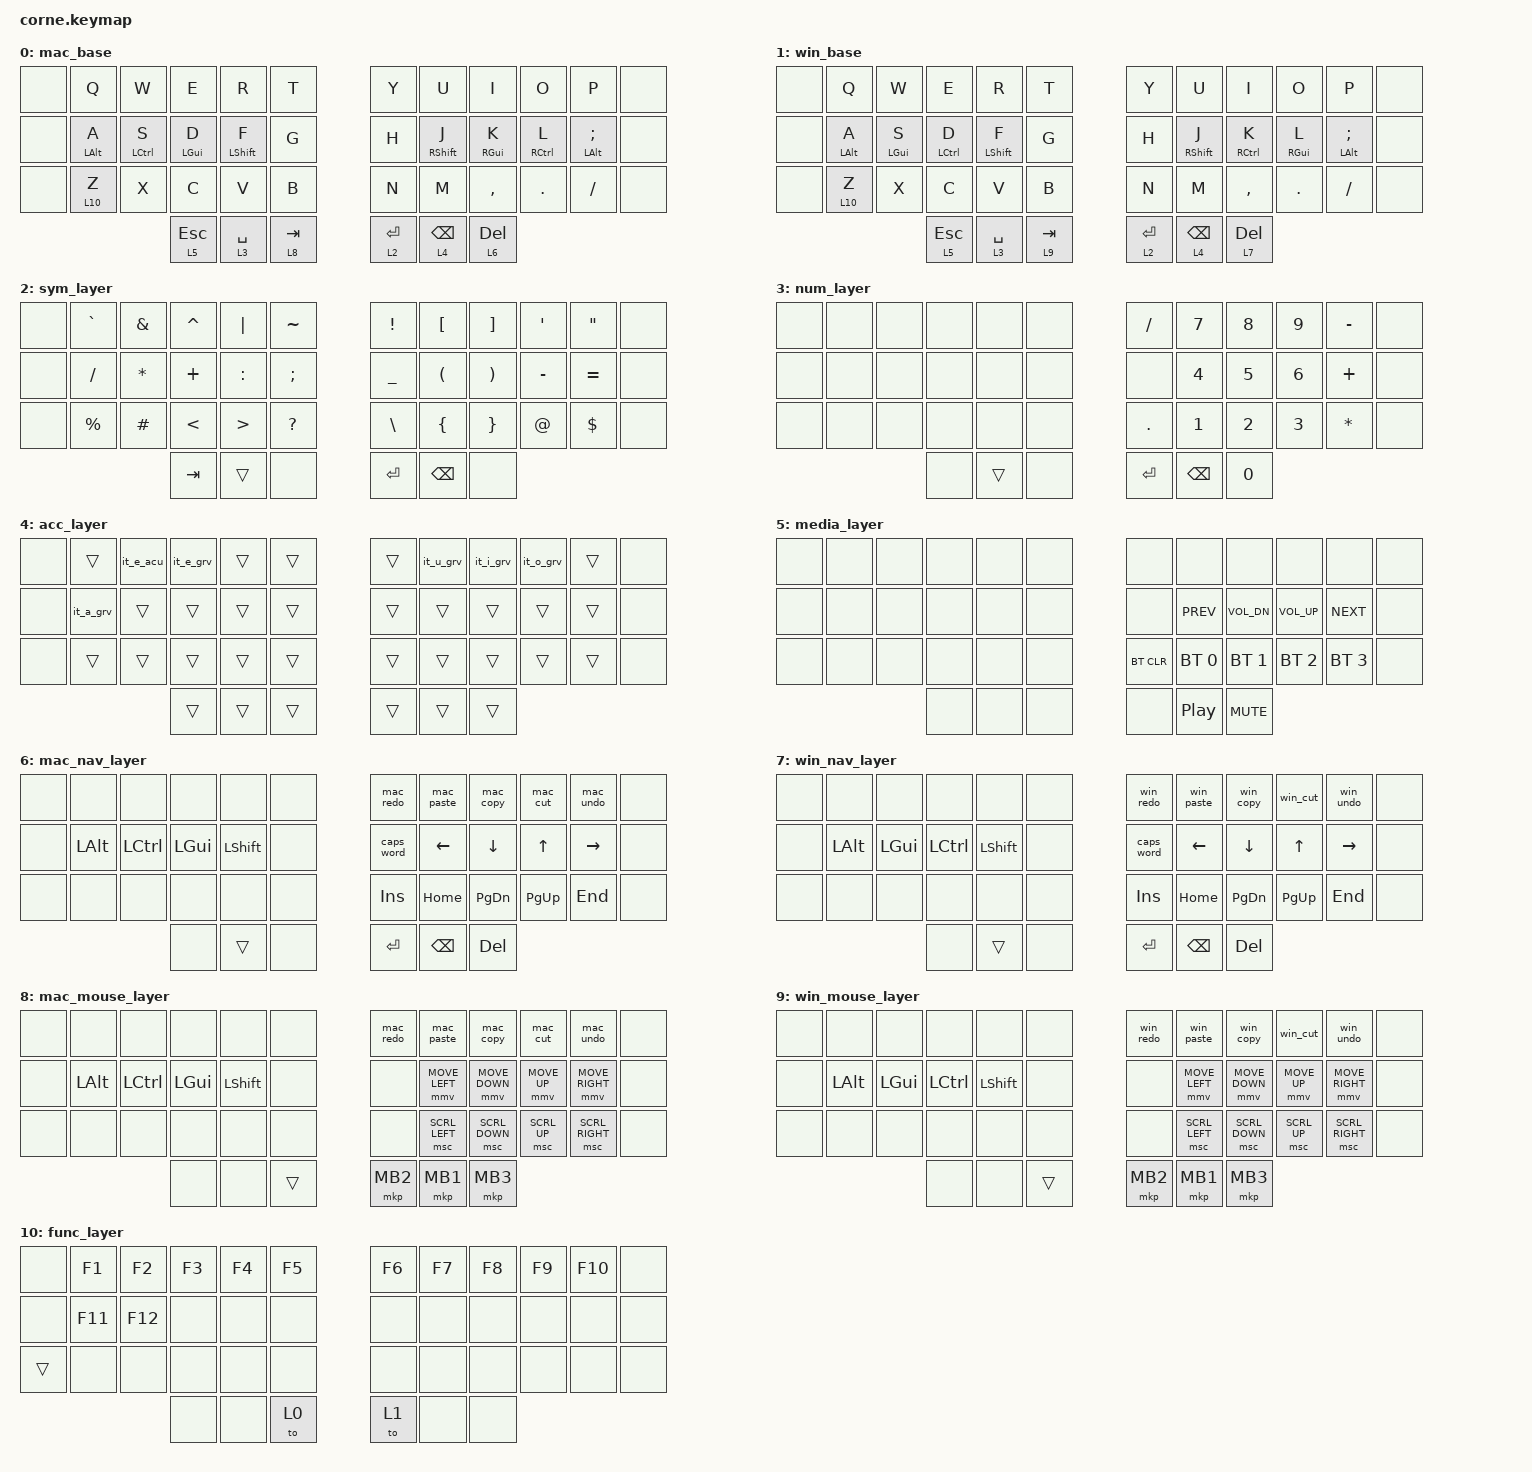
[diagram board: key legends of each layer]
/*
 * Copyright (c) 2020 The ZMK Contributors
 *
 * SPDX-License-Identifier: MIT
 */

#include <behaviors.dtsi>
#include <dt-bindings/zmk/keys.h>
#include <dt-bindings/zmk/bt.h>
#include <dt-bindings/zmk/pointing.h>

#define ZMK_POINTING_DEFAULT_MOVE_VAL 1500 
#define ZMK_POINTING_DEFAULT_SCRL_VAL 20 

#define MAC      0
#define WIN      1
#define SYM      2
#define NUM      3
#define ACC      4
#define MED      5
#define MNAV     6
#define WNAV     7
#define MMOU     8
#define WMOU     9
#define FUN      10

/* =============================================================
 * MACROS — Accenti italiani (dead key: grave/acute + lettera)
 * Funzionano con layout US International o Italiano su OS.
 * ============================================================= */
/ {
    macros {
        it_a_grv: it_a_grv { compatible = "zmk,behavior-macro"; label = "IT_A_GRV"; #binding-cells = <0>; wait-ms = <30>; tap-ms = <30>; bindings = <&kp GRAVE &kp A>; };
        it_e_grv: it_e_grv { compatible = "zmk,behavior-macro"; label = "IT_E_GRV"; #binding-cells = <0>; wait-ms = <30>; tap-ms = <30>; bindings = <&kp GRAVE &kp E>; };
        it_e_acu: it_e_acu { compatible = "zmk,behavior-macro"; label = "IT_E_ACU"; #binding-cells = <0>; wait-ms = <30>; tap-ms = <30>; bindings = <&kp SQT   &kp E>; };
        it_i_grv: it_i_grv { compatible = "zmk,behavior-macro"; label = "IT_I_GRV"; #binding-cells = <0>; wait-ms = <30>; tap-ms = <30>; bindings = <&kp GRAVE &kp I>; };
        it_o_grv: it_o_grv { compatible = "zmk,behavior-macro"; label = "IT_O_GRV"; #binding-cells = <0>; wait-ms = <30>; tap-ms = <30>; bindings = <&kp GRAVE &kp O>; };
        it_u_grv: it_u_grv { compatible = "zmk,behavior-macro"; label = "IT_U_GRV"; #binding-cells = <0>; wait-ms = <30>; tap-ms = <30>; bindings = <&kp GRAVE &kp U>; };
        win_copy: win_copy {
                compatible = "zmk,behavior-macro";
                label = "WIN_COPY";
                #binding-cells = <0>;
                bindings = <&macro_press &kp LCTRL>, 
                           <&macro_tap &kp C>, 
                           <&macro_release &kp LCTRL>;
        };
        win_cut: win_cut {
                compatible = "zmk,behavior-macro";
                label = "WIN_CUT";
                #binding-cells = <0>;
                bindings = <&macro_press &kp LCTRL>, 
                           <&macro_tap &kp X>, 
                           <&macro_release &kp LCTRL>;
        };
        win_paste: win_paste {
                compatible = "zmk,behavior-macro";
                label = "WIN_PASTE";
                #binding-cells = <0>;
                bindings = <&macro_press &kp LCTRL>, 
                           <&macro_tap &kp V>, 
                           <&macro_release &kp LCTRL>;
        };
        win_undo: win_undo {
                compatible = "zmk,behavior-macro";
                label = "WIN_UNDO";
                #binding-cells = <0>;
                bindings = <&macro_press &kp LCTRL>, 
                           <&macro_tap &kp Z>, 
                           <&macro_release &kp LCTRL>;
        };
        win_redo: win_redo {
                compatible = "zmk,behavior-macro";
                label = "WIN_REDO";
                #binding-cells = <0>;
                bindings = <&macro_press &kp LCTRL>, 
                           <&macro_tap &kp Y>, 
                           <&macro_release &kp LCTRL>;
        };
        mac_copy: mac_copy {
                compatible = "zmk,behavior-macro";
                label = "MAC_COPY";
                #binding-cells = <0>;
                bindings = <&macro_press &kp LGUI>, 
                           <&macro_tap &kp C>, 
                           <&macro_release &kp LGUI>;
        };
        mac_cut: mac_cut {
                compatible = "zmk,behavior-macro";
                label = "MAC_CUT";
                #binding-cells = <0>;
                bindings = <&macro_press &kp LGUI>, 
                           <&macro_tap &kp X>, 
                           <&macro_release &kp LGUI>;
        };
        mac_paste: mac_paste {
                compatible = "zmk,behavior-macro";
                label = "MAC_PASTE";
                #binding-cells = <0>;
                bindings = <&macro_press &kp LGUI>, 
                           <&macro_tap &kp V>, 
                           <&macro_release &kp LGUI>;
        };
        mac_undo: mac_undo {
                compatible = "zmk,behavior-macro";
                label = "MAC_UNDO";
                #binding-cells = <0>;
                bindings = <&macro_press &kp LGUI>, 
                           <&macro_tap &kp Z>, 
                           <&macro_release &kp LGUI>;
        };
        mac_redo: mac_redo {
                compatible = "zmk,behavior-macro";
                label = "MAC_REDO";
                #binding-cells = <0>;
                bindings = <&macro_press &kp LGUI>, 
                           <&macro_press &kp LSHFT>,
                           <&macro_tap &kp Z>, 
                           <&macro_release &kp LSHFT>,
                           <&macro_release &kp LGUI>;
        };
    };

/* =============================================================
 * HOME ROW MODS
 * ============================================================= */
    behaviors {
        hm: homerow_mods {
            compatible = "zmk,behavior-hold-tap";
            label = "HOMEROW_MODS";
            #binding-cells = <2>;
            tapping-term-ms = <250>;
            quick-tap-ms = <150>;
            require-prior-idle-ms = <125>;
            flavor = "tap-preferred";
            bindings = <&kp>, <&kp>;
        };

        th: backspace_layer {
            compatible = "zmk,behavior-hold-tap";
            #binding-cells = <2>;
            flavor = "balanced";
            tapping-term-ms = <200>; // Il tempo (in ms) per cui devi tenere premuto per attivare il layer
            quick-tap-ms = <200>;    // Permette di fare tap ripetuti per cancellare velocemente
            bindings = <&mo>, <&kp>;
        };
    };

/* =============================================================
 * KEYMAP — Carosello: BASE ▶ SYM ▶ NUM ▶ ACC ▶ NAV ▶ BASE
 * Thumb sx-esterno = avanza carosello
 * Thumb dx-esterno = torna a BASE (HOME)
 * MAC toggle = &tog BASE_MAC dal layer NAV
 * ============================================================= */

        keymap {
                compatible = "zmk,keymap";
        // ┌────┬────┬────┬────┬────┐              ┌────┬────┬────┬────┬────┐
        // │ Q  │ W  │ E  │ R  │ T  │              │ Y  │ U  │ I  │ O  │ P  │
        // ├────┼────┼────┼────┼────┤              ├────┼────┼────┼────┼────┤
        // │A/⌥ │S/⌃ │D/⌘ │F/⇧ │ G  │              │ H  │J/⇧ │K/⌘ │L/⌃ │;/⌥ │
        // ├────┼────┼────┼────┼────┤              ├────┼────┼────┼────┼────┤
        // │ Z  │ X  │ C  │ V  │ B  │              │ N  │ M  │ ,  │ .  │ /  │
        // └────┴────┴────┴────┴────┘              └────┴────┴────┴────┴────┘
        //      ┌─────┬───────────┬────────┐  ┌──────────┬─────┬─────┐
        //      │ ESC │ SPACE.    │  TAB   │  │ RETURN   │ RET │ DEL │
        //      └─────┴───────────┴────────┘  └──────────┴─────┴─────┘
                mac_base {
                        bindings = <
   &none   &kp Q        &kp W        &kp E        &kp R        &kp T          &kp Y     &kp U        &kp I        &kp O        &kp P           &none
   &none   &hm LALT A   &hm LCTRL S   &hm LGUI D  &hm LSHFT F  &kp G          &kp H     &hm RSHFT J  &hm RGUI K  &hm RCTRL L   &hm LALT SEMI   &none
   &none   &th 10 Z     &kp X        &kp C        &kp V        &kp B          &kp N     &kp M        &kp COMMA    &kp DOT      &kp FSLH        &none
                                     &th 5 ESC    &th 3 SPACE  &th 8 TAB      &th 2 RET &th 4 BSPC   &th 6 DEL
                        >;
                };

                win_base {
                        bindings = <
   &none   &kp Q        &kp W        &kp E        &kp R        &kp T          &kp Y     &kp U        &kp I        &kp O        &kp P           &none
   &none   &hm LALT A   &hm LGUI S   &hm LCTRL D  &hm LSHFT F  &kp G          &kp H     &hm RSHFT J  &hm RCTRL K  &hm RGUI L   &hm LALT SEMI   &none
   &none   &th 10 Z     &kp X        &kp C        &kp V        &kp B          &kp N     &kp M        &kp COMMA    &kp DOT      &kp FSLH        &none
                                     &th 5 ESC    &th 3 SPACE  &th 9 TAB      &th 2 RET &th 4 BSPC   &th 7 DEL
                        >;
                };

        // ┌──────┬────┬────┬────┬────┐              ┌────┬────┬────┬────┬────┐
        // │  `   │ &  │ ^  │ |  │ ~  │              │ !  │ [  │ ]  │ '  │ "  │
        // ├──────┼────┼────┼────┼────┤              ├────┼────┼────┼────┼────┤
        // │  /   │ *  │ +  │ :  │ ;  │              │ _  │ (  │ )  │ -  │ =  │
        // ├──────┼────┼────┼────┼────┤              ├────┼────┼────┼────┼────┤
        // │  %   │ #  │ <  │ >  │ ?  │              │ \  │ {  │ }  │ @  │ $  │
        // └──────┴────┴────┴────┴────┘              └────┴────┴────┴────┴────┘
        //      ┌─────┬───────┬────────┐  ┌──────┬──────┬──────┐
        //      │ TAB │ SPACE │ →NAV ▶ │  │ ENT  │ BSPC │ HOME │
        //      └─────┴───────┴────────┘  └──────┴──────┴──────┘

                sym_layer {
                        bindings = <
   &none    &kp GRAVE    &kp AMPS     &kp CARET    &kp PIPE     &kp TILDE      &kp EXCL  &kp LBKT     &kp RBKT     &kp SQT      &kp DQT   &none
   &none    &kp FSLH     &kp STAR     &kp PLUS     &kp COLON    &kp SEMI       &kp UNDER &kp LPAR     &kp RPAR     &kp MINUS    &kp EQUAL &none
   &none    &kp PRCNT    &kp HASH     &kp LT       &kp GT       &kp QMARK      &kp BSLH  &kp LBRC     &kp RBRC     &kp AT       &kp DLLR  &none
                                      &kp TAB      &trans       &none          &kp RET   &kp BSPC     &none
                        >;
                };

        // Mano sinistra trasparente → cade sul layer BASE
        // ┌────┬────┬────┬────┬────┐              ┌────┬────┬────┬────┬────┐
        // │    │    │    │    │    │              │ /  │ 7  │ 8  │ 9  │ -  │
        // ├────┼────┼────┼────┼────┤              ├────┼────┼────┼────┼────┤
        // │    │    │    │    │    │              │    │ 4  │ 5  │ 6  │ +  │
        // ├────┼────┼────┼────┼────┤              ├────┼────┼────┼────┼────┤
        // │    │    │    │    │    │              │ .  │ 1  │ 2  │ 3  │ *  │
        // └────┴────┴────┴────┴────┘              └────┴────┴────┴────┴────┘
        //      ┌─────┬───────┬────────┐  ┌──────┬──────┬──────┐
        //      │     │       │        │  │ RET  │  0   │      │
        //      └─────┴───────┴────────┘  └──────┴──────┴──────┘
                num_layer {
                        bindings = <
   &none  &none       &none       &none       &none       &none         &kp FSLH  &kp N7       &kp N8       &kp N9       &kp MINUS &none
   &none  &none       &none       &none       &none       &none         &none     &kp N4       &kp N5       &kp N6       &kp PLUS  &none
   &none  &none       &none       &none       &none       &none         &kp DOT   &kp N1       &kp N2       &kp N3       &kp STAR  &none
                                  &none       &trans      &none         &kp RET   &kp BSPC     &kp N0
                        >;
                };

        // Posizioni mnemoniche QWERTY: W=é E=è A=à  U=ù I=ì O=ò
        // ┌────┬────┬────┬────┬────┐              ┌────┬────┬────┬────┬────┐
        // │    │ é  │ è  │    │    │              │    │ ù  │ ì  │ ò  │    │
        // ├────┼────┼────┼────┼────┤              ├────┼────┼────┼────┼────┤
        // │ à  │    │    │    │    │              │    │    │    │    │    │
        // ├────┼────┼────┼────┼────┤              ├────┼────┼────┼────┼────┤
        // │    │    │    │    │    │              │    │    │    │    │    │
        // └────┴────┴────┴────┴────┘              └────┴────┴────┴────┴────┘
        //      ┌─────┬───────┬────────┐  ┌──────┬──────┬──────┐
        //      │ TAB │ SPACE │ →NAV ▶ │  │ ENT  │ BSPC │ HOME │
        //      └─────┴───────┴────────┘  └──────┴──────┴──────┘
                acc_layer {
                        bindings = <
   &none  &trans       &it_e_acu    &it_e_grv    &trans       &trans         &trans    &it_u_grv    &it_i_grv    &it_o_grv    &trans &none
   &none  &it_a_grv    &trans       &trans       &trans       &trans         &trans    &trans       &trans       &trans       &trans &none
   &none  &trans       &trans       &trans       &trans       &trans         &trans    &trans       &trans       &trans       &trans &none
                                       &trans       &trans       &trans         &trans    &trans       &trans
                        >;
                };

        // ┌──────┬────┬────┬────┬────┐              ┌────┬────┬────┬────┬──────┐
        // │  F1  │ F2 │ F3 │ F4 │ F5 │              │ F6 │ F7 │ F8 │ F9 │ F10  │
        // ├──────┼────┼────┼────┼────┤              ├────┼────┼────┼────┼──────┤
        // │ F11  │F12 │    │    │    │              │ ←  │ ↓  │ ↑  │ →  │ MCTG │
        // ├──────┼────┼────┼────┼────┤              ├────┼────┼────┼────┼──────┤
        // │BTCLR │BT0 │BT1 │BT2 │BT3 │              │HOME│PGDN│PGUP│END │      │
        // └──────┴────┴────┴────┴────┘              └────┴────┴────┴────┴──────┘
        //      ┌─────┬───────┬────────┐  ┌──────┬──────┬──────┐
        //      │ TAB │ SPACE │ BASE ▶ │  │ ENT  │ BSPC │ HOME │
        //      └─────┴───────┴────────┘  └──────┴──────┴──────┘
                media_layer {
                        bindings = <
   &none   &none      &none      &none       &none       &none         &none      &none        &none        &none        &none        &none
   &none   &none      &none      &none       &none       &none         &none      &kp C_PREV   &kp C_VOL_DN &kp C_VOL_UP &kp C_NEXT   &none
   &none   &none      &none      &none       &none       &none         &bt BT_CLR &bt BT_SEL 0 &bt BT_SEL 1 &bt BT_SEL 2 &bt BT_SEL 3 &none
                                 &none       &none       &none         &none      &kp C_PP      &kp C_MUTE
                        >;
                };

        // ┌──────┬────┬────┬────┬────┐              ┌────┬────┬────┬────┬──────┐
        // │  F1  │ F2 │ F3 │ F4 │ F5 │              │ F6 │ F7 │ F8 │ F9 │ F10  │
        // ├──────┼────┼────┼────┼────┤              ├────┼────┼────┼────┼──────┤
        // │ F11  │F12 │    │    │    │              │ ←  │ ↓  │ ↑  │ →  │ MCTG │
        // ├──────┼────┼────┼────┼────┤              ├────┼────┼────┼────┼──────┤
        // │BTCLR │BT0 │BT1 │BT2 │BT3 │              │HOME│PGDN│PGUP│END │      │
        // └──────┴────┴────┴────┴────┘              └────┴────┴────┴────┴──────┘
        //      ┌─────┬───────┬────────┐  ┌──────┬──────┬──────┐
        //      │ TAB │ SPACE │ BASE ▶ │  │ ENT  │ BSPC │ HOME │
        //      └─────┴───────┴────────┘  └──────┴──────┴──────┘
                mac_nav_layer {
                        bindings = <
   &none   &none      &none     &none       &none       &none         &mac_redo &mac_paste   &mac_copy    &mac_cut     &mac_undo     &none
   &none   &kp LALT      &kp LCTRL    &kp LGUI       &kp LSHFT      &none         &caps_word  &kp LEFT     &kp DOWN     &kp UP       &kp RIGHT     &none
   &none   &none      &none     &none       &none       &none         &kp INS   &kp HOME     &kp PG_DN    &kp PG_UP    &kp END       &none
                                &none       &trans      &none         &kp RET   &kp BSPC     &kp DEL
                        >;
                };

                win_nav_layer {
                        bindings = <
   &none   &none      &none     &none       &none       &none         &win_redo &win_paste   &win_copy    &win_cut     &win_undo     &none
   &none   &kp LALT      &kp LGUI     &kp LCTRL      &kp LSHFT      &none         &caps_word  &kp LEFT     &kp DOWN     &kp UP       &kp RIGHT     &none
   &none   &none      &none     &none       &none       &none         &kp INS   &kp HOME     &kp PG_DN    &kp PG_UP    &kp END       &none
                                &none       &trans      &none         &kp RET   &kp BSPC     &kp DEL
                        >;
                };

        // ┌──────┬────┬────┬────┬────┐              ┌────┬────┬────┬────┬──────┐
        // │  F1  │ F2 │ F3 │ F4 │ F5 │              │ F6 │ F7 │ F8 │ F9 │ F10  │
        // ├──────┼────┼────┼────┼────┤              ├────┼────┼────┼────┼──────┤
        // │ F11  │F12 │    │    │    │              │ ←  │ ↓  │ ↑  │ →  │ MCTG │
        // ├──────┼────┼────┼────┼────┤              ├────┼────┼────┼────┼──────┤
        // │BTCLR │BT0 │BT1 │BT2 │BT3 │              │HOME│PGDN│PGUP│END │      │
        // └──────┴────┴────┴────┴────┘              └────┴────┴────┴────┴──────┘
        //      ┌─────┬───────┬────────┐  ┌──────┬──────┬──────┐
        //      │ TAB │ SPACE │ BASE ▶ │  │ ENT  │ BSPC │ HOME │
        //      └─────┴───────┴────────┘  └──────┴──────┴──────┘
                mac_mouse_layer {
                        bindings = <
   &none   &none      &none      &none       &none       &none         &mac_redo  &mac_paste     &mac_copy      &mac_cut     &mac_undo         &none
   &none   &kp LALT   &kp LCTRL  &kp LGUI    &kp LSHFT   &none         &none      &mmv MOVE_LEFT &mmv MOVE_DOWN &mmv MOVE_UP &mmv MOVE_RIGHT   &none
   &none   &none      &none      &none       &none       &none         &none      &msc SCRL_LEFT &msc SCRL_DOWN &msc SCRL_UP &msc SCRL_RIGHT   &none
                                 &none       &none       &trans         &mkp MB2   &mkp MB1       &mkp MB3
                        >;
                };

                win_mouse_layer {
                        bindings = <
   &none   &none      &none      &none       &none       &none         &win_redo  &win_paste     &win_copy      &win_cut     &win_undo         &none
   &none   &kp LALT   &kp LGUI   &kp LCTRL   &kp LSHFT   &none         &none      &mmv MOVE_LEFT &mmv MOVE_DOWN &mmv MOVE_UP &mmv MOVE_RIGHT   &none
   &none   &none      &none      &none       &none       &none         &none      &msc SCRL_LEFT &msc SCRL_DOWN &msc SCRL_UP &msc SCRL_RIGHT   &none
                                 &none       &none       &trans         &mkp MB2   &mkp MB1       &mkp MB3
                        >;
                };

        // ┌──────┬────┬────┬────┬────┐              ┌────┬────┬────┬────┬──────┐
        // │  F1  │ F2 │ F3 │ F4 │ F5 │              │ F6 │ F7 │ F8 │ F9 │ F10  │
        // ├──────┼────┼────┼────┼────┤              ├────┼────┼────┼────┼──────┤
        // │ F11  │F12 │    │    │    │              │ ←  │ ↓  │ ↑  │ →  │ MCTG │
        // ├──────┼────┼────┼────┼────┤              ├────┼────┼────┼────┼──────┤
        // │BTCLR │BT0 │BT1 │BT2 │BT3 │              │HOME│PGDN│PGUP│END │      │
        // └──────┴────┴────┴────┴────┘              └────┴────┴────┴────┴──────┘
        //      ┌─────┬───────┬────────┐  ┌──────┬──────┬──────┐
        //      │ TAB │ SPACE │ BASE ▶ │  │ ENT  │ BSPC │ HOME │
        //      └─────┴───────┴────────┘  └──────┴──────┴──────┘
                func_layer {
                        bindings = <
   &none   &kp F1     &kp F2        &kp F3      &kp F4      &kp F5        &kp F6     &kp F7    &kp F8     &kp F9    &kp F10   &none
   &none   &kp F11    &kp F12       &none       &none       &none         &none      &none     &none      &none     &none     &none
   &trans  &none      &none         &none       &none       &none         &none      &none     &none      &none     &none     &none
                                    &none       &none       &to 0         &to 1      &none     &none
                        >;
                };
        };
};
